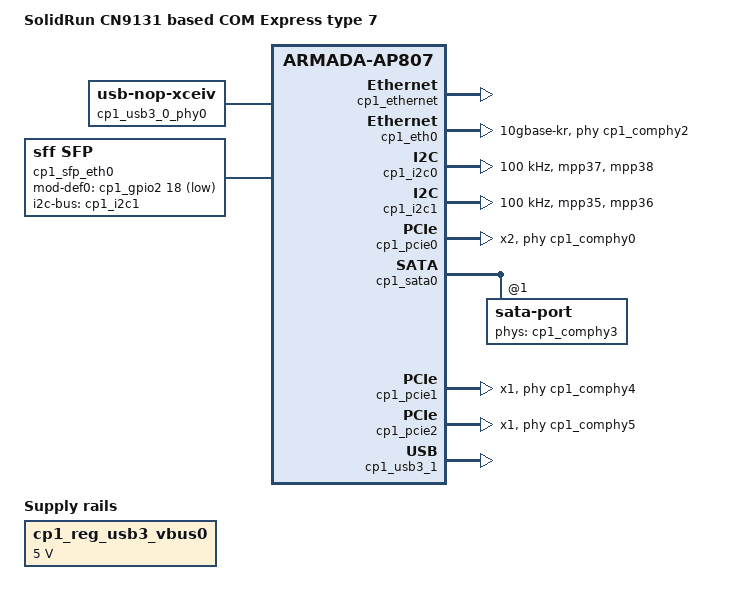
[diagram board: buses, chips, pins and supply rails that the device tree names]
// SPDX-License-Identifier: (GPL-2.0+ OR MIT)
/*
 * Copyright SolidRun Ltd.
 *
 * Device tree for the CN9131 COM Express Type 7 board.
 */

#include "cn9130-cex7.dts"

/ {
	model = "SolidRun CN9131 based COM Express type 7";
	compatible = "marvell,cn9131", "marvell,cn9130",
		     "marvell,armada-ap807-quad", "marvell,armada-ap807";

	aliases {
		gpio3 = &cp1_gpio1;
		gpio4 = &cp1_gpio2;
		ethernet3 = &cp1_eth0;
	};
	cp1_reg_usb3_vbus0: cp1_usb3_vbus@0 {
		compatible = "regulator-fixed";
		pinctrl-names = "default";
		regulator-name = "cp1-xhci0-vbus";
		regulator-min-microvolt = <5000000>;
		regulator-max-microvolt = <5000000>;
		enable-active-high;
	};
	cp1_usb3_0_phy0: cp1_usb3_phy0 {
		compatible = "usb-nop-xceiv";
	};

	cp1_sfp_eth0: sfp-eth0{
		compatible = "sff,sfp";
		i2c-bus = <&cp1_i2c1>;
		mod-def0-gpio = <&cp1_gpio2 18  GPIO_ACTIVE_LOW>;
		pinctrl-names = "default";
		pinctrl-0 = <&cp1_sfp_pins>;
		status = "okay";
	};
};

/* Instantiate the first slave CP115  */

#define CP11X_NAME		cp1
#define CP11X_BASE		f4000000
#define CP11X_PCIEx_MEM_BASE(iface) (0xe2000000 + (iface * 0x1000000))
#define CP11X_PCIEx_MEM_SIZE(iface) 0xf00000
#define CP11X_PCIE0_BASE	f4600000
#define CP11X_PCIE1_BASE	f4620000
#define CP11X_PCIE2_BASE	f4640000

#include "armada-cp115.dtsi"

#undef CP11X_NAME
#undef CP11X_BASE
#undef CP11X_PCIEx_MEM_BASE
#undef CP11X_PCIEx_MEM_SIZE
#undef CP11X_PCIE0_BASE
#undef CP11X_PCIE1_BASE
#undef CP11X_PCIE2_BASE

&cp1_crypto {
	status = "disabled";
};

&cp1_ethernet {
	status = "okay";
};

/* 5GE PHY0 */
&cp1_eth0 {
	status = "okay";
	phy-mode = "10gbase-kr";
	phys = <&cp1_comphy2 0>;
	managed = "in-band-status";
	sfp = <&cp1_sfp_eth0>;
};

&cp1_gpio1 {
	status = "okay";
};

&cp1_gpio2 {
	status = "okay";
};

&cp1_i2c0 {
	status = "okay";
	pinctrl-names = "default";
	pinctrl-0 = <&cp1_i2c0_pins>;
	clock-frequency = <100000>;
};

&cp1_i2c1 {
	status = "okay";
	pinctrl-names = "default";
	pinctrl-0 = <&cp1_i2c1_pins>;
	clock-frequency = <100000>;
};

/* PCIE X2 NVME */
&cp1_pcie0 {
	pinctrl-names = "default";
	num-lanes = <2>;
	num-viewport = <8>;
	status = "okay";
	phys = <&cp1_comphy0 0
		&cp1_comphy1 0>;
};

&cp1_sata0 {
	status = "okay";
	sata-port@1 {
		/* Generic PHY, providing serdes lanes */
		phys = <&cp1_comphy3 1>;
	};
};

&cp1_pcie1 {
	pinctrl-names = "default";
	num-lanes = <1>;
	num-viewport = <8>;
	status = "okay";
	phys = <&cp1_comphy4 1>;
};

&cp1_pcie2 {
	pinctrl-names = "default";
	num-lanes = <1>;
	num-viewport = <8>;
	status = "okay";
	phys = <&cp1_comphy5 2>;
};

&cp1_syscon0 {
	cp1_pinctrl: pinctrl {
		compatible = "marvell,cp115-standalone-pinctrl";

		cp1_i2c0_pins: cp1-i2c-pins-0 {
			marvell,pins = "mpp37", "mpp38";
			marvell,function = "i2c0";
		};
		cp1_i2c1_pins: cp1-i2c-pins-1 {
			marvell,pins = "mpp35", "mpp36";
			marvell,function = "i2c1";
		};
		cp1_sfp_pins: sfp-pins {
			marvell,pins = "mpp50";
			marvell,function = "gpio";
		};
	};
};

  &cp1_usb3_1 {
	status = "okay";
	phy-names = "usb";
};
